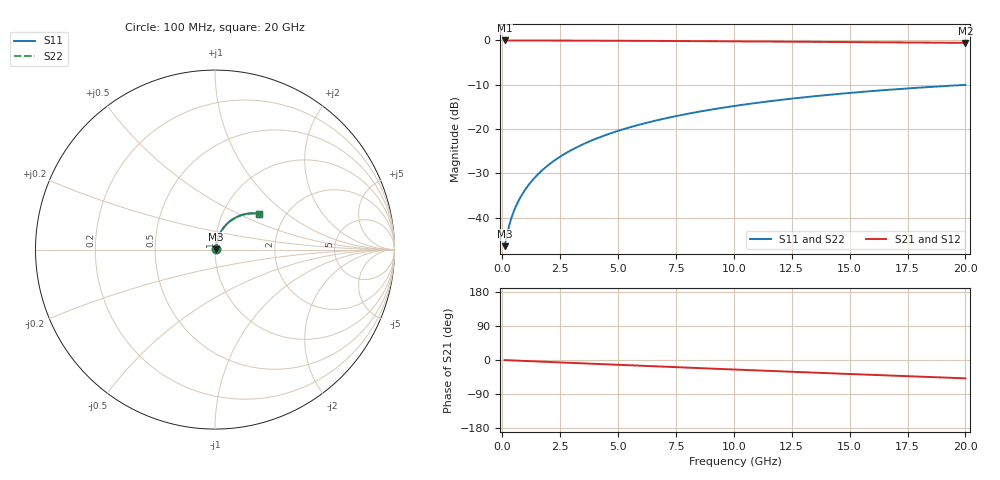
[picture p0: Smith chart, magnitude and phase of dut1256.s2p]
! Touchstone file exported from HFSS 2026.1.0
!  File:  C:/ffzhzh/LocalFiles/Ansys_Project_Files/temp_train_TMRDL_1256_1783163924_18472.aedt
!  Generated:  07:19:57 PM Jul  4, 2026
!  Design:  TMRDL
!  Project:  temp_train_TMRDL_1256_1783163924_18472
! Variables:
!  h_bsmrdl = 2um
!  h_ox = 20um
!  h_rdl = 5um
!  h_sub = 80um
!  h_tmrdl = 2.63um
!  h_tsv = 80um
!  h_via = 3um
!  l_bsmrdl = 300um
!  l_sub = 1175.91um
!  l_tmrdl = 775.91um
!  m_sub = 200um
!  pitch = 43.34um
!  r_tsv = 6um
!  s_tmrdl = 10um
!  w_bsmrdl = 18um
!  w_sub = 500um
!  w_tmrdl = 27.22um
!  x_tsv_center1 = 789.52um
!  x_tsv_center2 = 1107.52um
!  x_tsv_center3 = 1910.65um
!  x_tsv_center4 = 2228.65um
!  x_tsv_center5 = 3031.78um
!  x_tsv_center6 = 3349.78um
# GHz S MA R 50.000000
! Terminal data exported
! Port[1] = TM_RDL1_1_T1
! Port[2] = TM_RDL1_1_T2
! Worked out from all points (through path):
!   200 points, 100 MHz to 20 GHz, reference 50 ohm
!   highest |S21| = -0.04 dB at 100 MHz (marker M1); lowest = -0.6 dB at 20 GHz (marker M2)
!   group delay of S21, straight-line fit = 6.72 ps
!   lowest |S11| = -46.4 dB at 100 MHz (marker M3), VSWR 1.01, Z = 50.4 + j0.236 ohm
!   |S11| at or under -10 dB: start of sweep to end of sweep
!   |S22| runs from -46.4 to -10.0 dB; largest |S21 - S12| = 2.1e-15
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0.1  0.004777 29.3  0.9958 -0.3  0.9958 -0.3  0.004777 29.3
! Gamma 0 0 0 0
! Port Impedance 50 0 50 0
0.2  0.006372 46.0  0.9956 -0.6  0.9956 -0.6  0.006372 46.0
0.3  0.008208 54.5  0.9953 -0.8  0.9953 -0.8  0.008208 54.5
0.4  0.01006 59.4  0.995 -1.1  0.995 -1.1  0.01006 59.4
0.5  0.01189 62.8  0.9948 -1.3  0.9948 -1.3  0.01189 62.8
0.6  0.0137 65.3  0.9945 -1.6  0.9945 -1.6  0.0137 65.3
0.8  0.01729 68.8  0.9942 -2.1  0.9942 -2.1  0.01729 68.8
1.1  0.02274 72.1  0.9939 -2.9  0.9939 -2.9  0.02274 72.1
1.3  0.02641 73.5  0.9937 -3.4  0.9937 -3.4  0.02641 73.5
1.6  0.03196 74.8  0.9934 -4.1  0.9934 -4.1  0.03196 74.8
2.1  0.0413 75.8  0.9929 -5.4  0.9929 -5.4  0.0413 75.8
2.7  0.05256 76.0  0.9922 -6.9  0.9922 -6.9  0.05256 76.0
3.5  0.06754 75.3  0.991 -8.9  0.991 -8.9  0.06754 75.3
4.2  0.08055 74.3  0.9897 -10.7  0.9897 -10.7  0.08055 74.3
5  0.09525 72.8  0.9881 -12.7  0.9881 -12.7  0.09526 72.8
5.9  0.1115 71.0  0.9859 -15.0  0.9859 -15.0  0.1116 71.0
6.8  0.1275 69.1  0.9836 -17.2  0.9836 -17.2  0.1275 69.1
8.3  0.1534 65.7  0.9791 -20.9  0.9791 -20.9  0.1534 65.7
10.1  0.183 61.6  0.9731 -25.3  0.9731 -25.3  0.183 61.6
13.4  0.233 54.0  0.9609 -33.2  0.9609 -33.2  0.233 54.0
16.7  0.2769 46.5  0.9482 -40.9  0.9482 -40.9  0.2769 46.5
20  0.3145 39.3  0.9357 -48.4  0.9357 -48.4  0.3146 39.3
